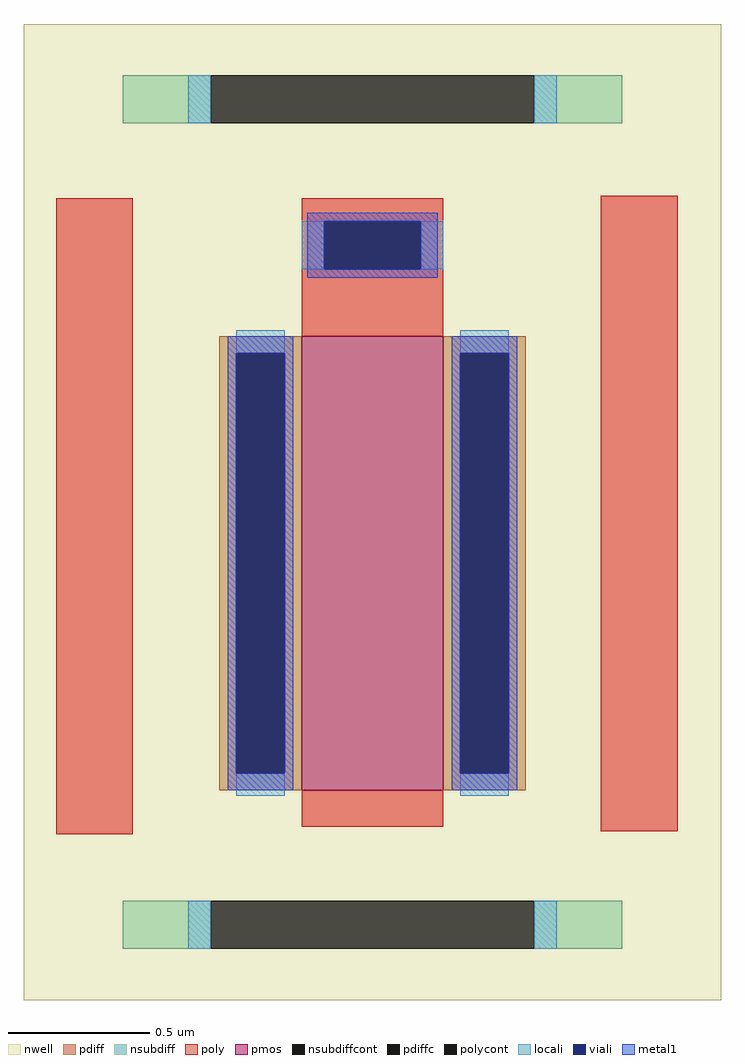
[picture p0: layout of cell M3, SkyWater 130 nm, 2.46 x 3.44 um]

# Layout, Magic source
magic
tech sky130B
magscale 1 2
<< nwell >>
rect -246 -344 246 344
<< pmos >>
rect -50 -196 50 124
<< pdiff >>
rect -108 112 -50 124
rect -108 -184 -96 112
rect -62 -184 -50 112
rect -108 -196 -50 -184
rect 50 112 108 124
rect 50 -184 62 112
rect 96 -184 108 112
rect 50 -196 108 -184
<< pdiffc >>
rect -96 -184 -62 112
rect 62 -184 96 112
<< nsubdiff >>
rect -176 274 -114 308
rect 114 274 176 308
rect -176 -308 -114 -274
rect 114 -308 176 -274
<< nsubdiffcont >>
rect -114 274 114 308
rect -114 -308 114 -274
<< poly >>
rect -223 -227 -169 221
rect -50 205 50 221
rect -50 171 -34 205
rect 34 171 50 205
rect -50 124 50 171
rect -50 -222 50 -196
rect 161 -225 215 223
<< polycont >>
rect -34 171 34 205
<< locali >>
rect -130 274 -114 308
rect 114 274 130 308
rect -50 171 -34 205
rect 34 171 50 205
rect -96 112 -62 128
rect -96 -200 -62 -184
rect 62 112 96 128
rect 62 -200 96 -184
rect -130 -308 -114 -274
rect 114 -308 130 -274
<< viali >>
rect -34 171 34 205
rect -96 -184 -62 112
rect 62 -184 96 112
<< metal1 >>
rect -46 205 46 211
rect -46 171 -34 205
rect 34 171 46 205
rect -46 165 46 171
rect -102 112 -56 124
rect -102 -184 -96 112
rect -62 -184 -56 112
rect -102 -196 -56 -184
rect 56 112 102 124
rect 56 -184 62 112
rect 96 -184 102 112
rect 56 -196 102 -184
<< properties >>
string FIXED_BBOX -193 -291 193 291
string gencell sky130_fd_pr__pfet_01v8
string library sky130
string parameters w 1.6 l .5 m 1 nf 1 diffcov 100 polycov 100 guard 1 glc 0 grc 0 gtc 1 gbc 1 tbcov 100 rlcov 100 topc 1 botc 0 poverlap 0 doverlap 1 lmin 0.15 wmin 0.42 compatible {sky130_fd_pr__pfet_01v8  sky130_fd_pr__pfet_01v8_lvt sky130_fd_pr__pfet_01v8_hvt  sky130_fd_pr__pfet_g5v0d10v5} full_metal 0 viasrc 100 viadrn 100 viagate 100 viagb 0 viagr 0 viagl 0 viagt 0
<< end >>
